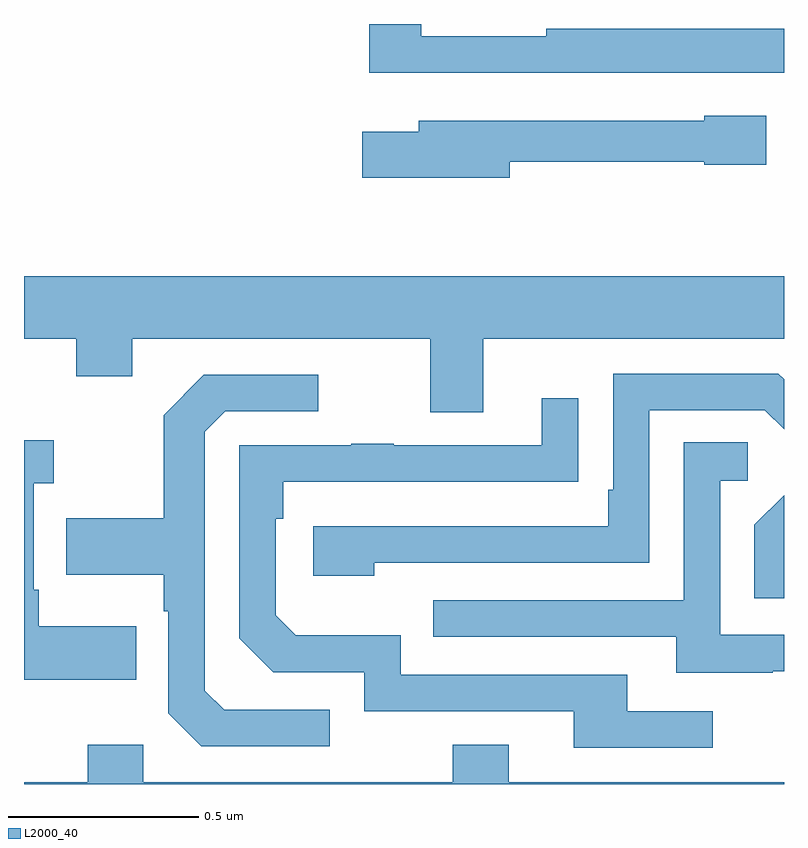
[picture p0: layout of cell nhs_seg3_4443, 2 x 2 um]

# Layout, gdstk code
import gdstk
lib = gdstk.Library(unit=1e-6, precision=1e-09)
def P(c, l, *ps):  # polygons
    for p in ps: c.add(gdstk.Polygon(p, *l))
L2000_40 = (2000, 40)

nhs_seg3_4443 = lib.new_cell('nhs_seg3_4443')
P(nhs_seg3_4443, L2000_40, [(168,712.388),(167.374,712.388),(167.374,712.368),(167.045,712.368),(167.045,712.4),(166.909,712.4),(166.909,712.272),(168,712.272)],
  [(167.278,712.038),(167.79,712.038),(167.79,712.03),(167.953,712.03),(167.953,712.159),(167.79,712.159),(167.79,712.146),(167.039,712.146),(167.039,712.117),(166.89,712.117),(166.89,711.995),(167.278,711.995)],
  [(167.209,711.572),(168,711.572),(168,711.736),(166,711.736),(166,711.572),(166.138,711.572),(166.138,711.473),(166.285,711.473),(166.285,711.572),(167.069,711.572),(167.069,711.378),(167.209,711.378)],
  [(166.922,710.982),(167.646,710.982),(167.646,711.384),(167.949,711.384),(168,711.333),(168,711.465),(167.985,711.48),(167.55,711.48),(167.55,711.175),(167.537,711.175),(167.537,711.078),(166.761,711.078),(166.761,710.948),(166.922,710.948)],
  [(166.804,710.595),(166.527,710.595),(166.476,710.646),(166.476,711.327),(166.53,711.381),(166.774,711.381),(166.774,711.477),(166.473,711.477),(166.368,711.371),(166.368,711.099),(166.111,711.099),(166.111,710.951),(166.368,710.951),(166.368,710.855),(166.38,710.855),(166.38,710.586),(166.467,710.499),(166.804,710.499)],
  [(167.812,710.592),(167.587,710.592),(167.587,710.688),(166.992,710.688),(166.992,710.791),(166.715,710.791),(166.662,710.844),(166.662,711.098),(166.682,711.098),(166.682,711.195),(167.357,711.195),(167.357,711.196),(167.459,711.196),(167.459,711.415),(167.363,711.415),(167.363,711.291),(166.973,711.291),(166.973,711.296),(166.861,711.296),(166.861,711.291),(166.566,711.291),(166.566,710.784),(166.656,710.694),(166.896,710.694),(166.896,710.592),(167.447,710.592),(167.447,710.496),(167.812,710.496)],
  [(166.295,710.815),(166.039,710.815),(166.039,710.911),(166.026,710.911),(166.026,711.191),(166.078,711.191),(166.078,711.304),(166,711.304),(166,710.675),(166.295,710.675)],
  [(167.971,710.697),(168,710.697),(168,710.793),(167.832,710.793),(167.832,711.198),(167.905,711.198),(167.905,711.299),(167.736,711.299),(167.736,710.883),(167.077,710.883),(167.077,710.787),(167.717,710.787),(167.717,710.693),(167.971,710.693)],
  [(168,711.16),(167.922,711.082),(167.922,710.889),(168,710.889)],
  [(168,710.404),(167.275,710.404),(167.275,710.503),(167.128,710.503),(167.128,710.404),(166.314,710.404),(166.314,710.503),(166.168,710.503),(166.168,710.404),(166,710.404),(166,710.4),(168,710.4)])

lib.write_gds('nhs_seg3_4443.gds')
